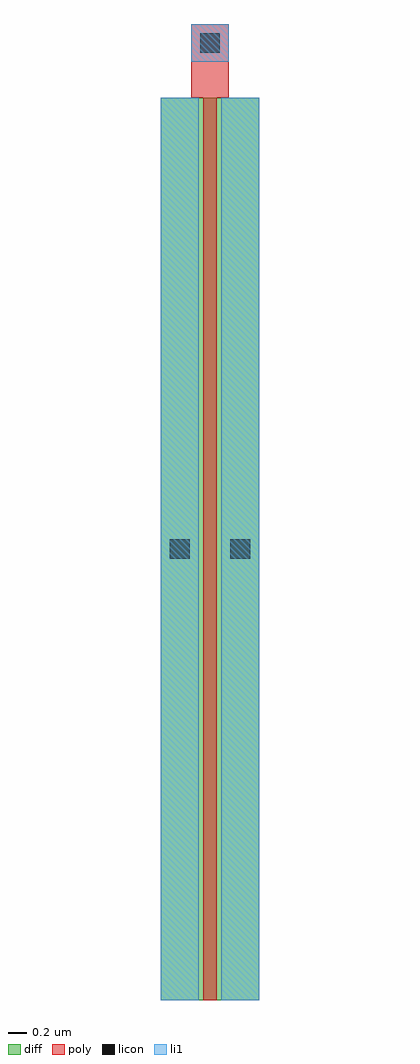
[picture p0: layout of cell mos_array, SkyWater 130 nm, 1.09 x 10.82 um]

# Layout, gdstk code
import gdstk
lib = gdstk.Library(unit=1e-6, precision=1e-09)
def R(c, l, rs):  # rectangles x0, y0, x1, y1
    for r in rs: c.add(gdstk.rectangle(r[:2], r[2:], *l))
diff = (65, 20)
poly = (66, 20)
licon = (66, 44)
li1 = (67, 20)

mos_array = lib.new_cell('mos_array')
R(mos_array, diff, [(0,0,1.09,10)])
R(mos_array, poly, [(0.47,0,0.62,10), (0.335,10,0.755,10.82)])
R(mos_array, licon, [(0.1,4.89,0.32,5.11), (0.77,4.89,0.99,5.11), (0.435,10.5,0.655,10.72)])
R(mos_array, li1, [(0,0,0.42,10), (0.67,0,1.09,10), (0.335,10.4,0.755,10.82)])

lib.write_gds('mos_array.gds')
